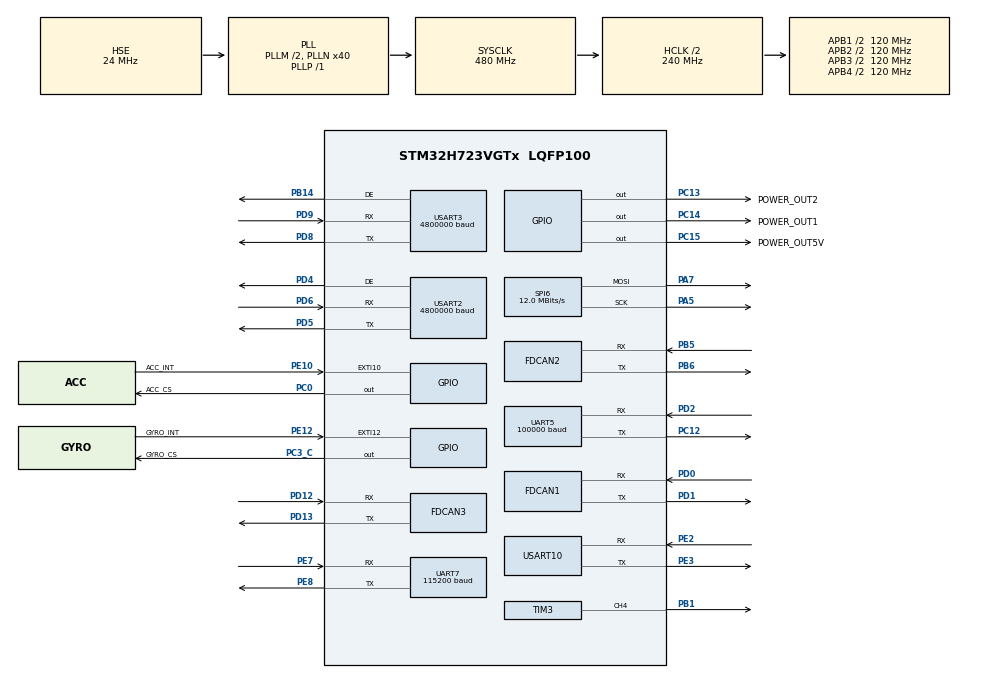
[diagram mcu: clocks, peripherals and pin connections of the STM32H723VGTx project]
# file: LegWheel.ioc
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CRC.DefaultPolynomialUse=DEFAULT_POLYNOMIAL_DISABLE
Dma.Request0=USART2_RX
Dma.Request1=USART2_TX
Dma.Request2=USART3_RX
Dma.Request3=USART3_TX
Dma.Request4=UART7_RX
Dma.Request5=UART7_TX
Dma.Request6=USART10_RX
Dma.Request7=USART10_TX
Dma.Request8=UART5_RX
Dma.UART5_RX.8.Direction=DMA_PERIPH_TO_MEMORY
Dma.UART5_RX.8.EventEnable=DISABLE
Dma.UART5_RX.8.FIFOMode=DMA_FIFOMODE_DISABLE
Dma.UART5_RX.8.Instance=DMA1_Stream0
Dma.UART5_RX.8.MemDataAlignment=DMA_MDATAALIGN_BYTE
Dma.UART5_RX.8.MemInc=DMA_MINC_ENABLE
Dma.UART5_RX.8.Mode=DMA_CIRCULAR
Dma.UART5_RX.8.PeriphDataAlignment=DMA_PDATAALIGN_BYTE
Dma.UART5_RX.8.PeriphInc=DMA_PINC_DISABLE
Dma.UART5_RX.8.Polarity=HAL_DMAMUX_REQ_GEN_RISING
Dma.UART5_RX.8.Priority=DMA_PRIORITY_VERY_HIGH
Dma.UART5_RX.8.RequestNumber=1
Dma.UART5_RX.8.SignalID=NONE
Dma.UART5_RX.8.SyncEnable=DISABLE
Dma.UART5_RX.8.SyncPolarity=HAL_DMAMUX_SYNC_NO_EVENT
Dma.UART5_RX.8.SyncRequestNumber=1
Dma.UART5_RX.8.SyncSignalID=NONE
Dma.UART7_RX.4.Direction=DMA_PERIPH_TO_MEMORY
Dma.UART7_RX.4.EventEnable=DISABLE
Dma.UART7_RX.4.FIFOMode=DMA_FIFOMODE_DISABLE
Dma.UART7_RX.4.Instance=DMA2_Stream2
Dma.UART7_RX.4.MemDataAlignment=DMA_MDATAALIGN_BYTE
Dma.UART7_RX.4.MemInc=DMA_MINC_ENABLE
Dma.UART7_RX.4.Mode=DMA_CIRCULAR
Dma.UART7_RX.4.PeriphDataAlignment=DMA_PDATAALIGN_BYTE
Dma.UART7_RX.4.PeriphInc=DMA_PINC_DISABLE
Dma.UART7_RX.4.Polarity=HAL_DMAMUX_REQ_GEN_RISING
Dma.UART7_RX.4.Priority=DMA_PRIORITY_VERY_HIGH
Dma.UART7_RX.4.RequestNumber=1
Dma.UART7_RX.4.SignalID=NONE
Dma.UART7_RX.4.SyncEnable=DISABLE
Dma.UART7_RX.4.SyncPolarity=HAL_DMAMUX_SYNC_NO_EVENT
Dma.UART7_RX.4.SyncRequestNumber=1
Dma.UART7_RX.4.SyncSignalID=NONE
Dma.UART7_TX.5.Direction=DMA_MEMORY_TO_PERIPH
Dma.UART7_TX.5.EventEnable=DISABLE
Dma.UART7_TX.5.FIFOMode=DMA_FIFOMODE_DISABLE
Dma.UART7_TX.5.Instance=DMA2_Stream1
Dma.UART7_TX.5.MemDataAlignment=DMA_MDATAALIGN_BYTE
Dma.UART7_TX.5.MemInc=DMA_MINC_ENABLE
Dma.UART7_TX.5.Mode=DMA_CIRCULAR
Dma.UART7_TX.5.PeriphDataAlignment=DMA_PDATAALIGN_BYTE
Dma.UART7_TX.5.PeriphInc=DMA_PINC_DISABLE
Dma.UART7_TX.5.Polarity=HAL_DMAMUX_REQ_GEN_RISING
Dma.UART7_TX.5.Priority=DMA_PRIORITY_VERY_HIGH
Dma.UART7_TX.5.RequestNumber=1
Dma.UART7_TX.5.SignalID=NONE
Dma.UART7_TX.5.SyncEnable=DISABLE
Dma.UART7_TX.5.SyncPolarity=HAL_DMAMUX_SYNC_NO_EVENT
Dma.UART7_TX.5.SyncRequestNumber=1
Dma.UART7_TX.5.SyncSignalID=NONE
Dma.USART10_RX.6.Direction=DMA_PERIPH_TO_MEMORY
Dma.USART10_RX.6.EventEnable=DISABLE
Dma.USART10_RX.6.FIFOMode=DMA_FIFOMODE_DISABLE
Dma.USART10_RX.6.Instance=DMA2_Stream3
Dma.USART10_RX.6.MemDataAlignment=DMA_MDATAALIGN_BYTE
Dma.USART10_RX.6.MemInc=DMA_MINC_ENABLE
Dma.USART10_RX.6.Mode=DMA_NORMAL
Dma.USART10_RX.6.PeriphDataAlignment=DMA_PDATAALIGN_BYTE
Dma.USART10_RX.6.PeriphInc=DMA_PINC_DISABLE
Dma.USART10_RX.6.Polarity=HAL_DMAMUX_REQ_GEN_RISING
Dma.USART10_RX.6.Priority=DMA_PRIORITY_VERY_HIGH
Dma.USART10_RX.6.RequestNumber=1
Dma.USART10_RX.6.SignalID=NONE
Dma.USART10_RX.6.SyncEnable=DISABLE
Dma.USART10_RX.6.SyncPolarity=HAL_DMAMUX_SYNC_NO_EVENT
Dma.USART10_RX.6.SyncRequestNumber=1
Dma.USART10_RX.6.SyncSignalID=NONE
Dma.USART10_TX.7.Direction=DMA_MEMORY_TO_PERIPH
Dma.USART10_TX.7.EventEnable=DISABLE
Dma.USART10_TX.7.FIFOMode=DMA_FIFOMODE_DISABLE
Dma.USART10_TX.7.Instance=DMA2_Stream4
Dma.USART10_TX.7.MemDataAlignment=DMA_MDATAALIGN_BYTE
Dma.USART10_TX.7.MemInc=DMA_MINC_ENABLE
Dma.USART10_TX.7.Mode=DMA_NORMAL
Dma.USART10_TX.7.PeriphDataAlignment=DMA_PDATAALIGN_BYTE
Dma.USART10_TX.7.PeriphInc=DMA_PINC_DISABLE
Dma.USART10_TX.7.Polarity=HAL_DMAMUX_REQ_GEN_RISING
Dma.USART10_TX.7.Priority=DMA_PRIORITY_VERY_HIGH
Dma.USART10_TX.7.RequestNumber=1
Dma.USART10_TX.7.SignalID=NONE
Dma.USART10_TX.7.SyncEnable=DISABLE
Dma.USART10_TX.7.SyncPolarity=HAL_DMAMUX_SYNC_NO_EVENT
Dma.USART10_TX.7.SyncRequestNumber=1
Dma.USART10_TX.7.SyncSignalID=NONE
Dma.USART2_RX.0.Direction=DMA_PERIPH_TO_MEMORY
Dma.USART2_RX.0.EventEnable=DISABLE
Dma.USART2_RX.0.FIFOMode=DMA_FIFOMODE_DISABLE
Dma.USART2_RX.0.Instance=DMA1_Stream1
Dma.USART2_RX.0.MemDataAlignment=DMA_MDATAALIGN_BYTE
Dma.USART2_RX.0.MemInc=DMA_MINC_ENABLE
Dma.USART2_RX.0.Mode=DMA_NORMAL
Dma.USART2_RX.0.PeriphDataAlignment=DMA_PDATAALIGN_BYTE
Dma.USART2_RX.0.PeriphInc=DMA_PINC_DISABLE
Dma.USART2_RX.0.Polarity=HAL_DMAMUX_REQ_GEN_RISING
Dma.USART2_RX.0.Priority=DMA_PRIORITY_HIGH
Dma.USART2_RX.0.RequestNumber=1
Dma.USART2_RX.0.SignalID=NONE
Dma.USART2_RX.0.SyncEnable=DISABLE
Dma.USART2_RX.0.SyncPolarity=HAL_DMAMUX_SYNC_NO_EVENT
Dma.USART2_RX.0.SyncRequestNumber=1
Dma.USART2_RX.0.SyncSignalID=NONE
Dma.USART2_TX.1.Direction=DMA_MEMORY_TO_PERIPH
Dma.USART2_TX.1.EventEnable=DISABLE
Dma.USART2_TX.1.FIFOMode=DMA_FIFOMODE_DISABLE
Dma.USART2_TX.1.Instance=DMA1_Stream2
Dma.USART2_TX.1.MemDataAlignment=DMA_MDATAALIGN_BYTE
Dma.USART2_TX.1.MemInc=DMA_MINC_ENABLE
Dma.USART2_TX.1.Mode=DMA_NORMAL
Dma.USART2_TX.1.PeriphDataAlignment=DMA_PDATAALIGN_BYTE
Dma.USART2_TX.1.PeriphInc=DMA_PINC_DISABLE
Dma.USART2_TX.1.Polarity=HAL_DMAMUX_REQ_GEN_RISING
Dma.USART2_TX.1.Priority=DMA_PRIORITY_HIGH
Dma.USART2_TX.1.RequestNumber=1
Dma.USART2_TX.1.SignalID=NONE
Dma.USART2_TX.1.SyncEnable=DISABLE
Dma.USART2_TX.1.SyncPolarity=HAL_DMAMUX_SYNC_NO_EVENT
Dma.USART2_TX.1.SyncRequestNumber=1
Dma.USART2_TX.1.SyncSignalID=NONE
Dma.USART3_RX.2.Direction=DMA_PERIPH_TO_MEMORY
Dma.USART3_RX.2.EventEnable=DISABLE
Dma.USART3_RX.2.FIFOMode=DMA_FIFOMODE_DISABLE
Dma.USART3_RX.2.Instance=DMA1_Stream3
Dma.USART3_RX.2.MemDataAlignment=DMA_MDATAALIGN_BYTE
Dma.USART3_RX.2.MemInc=DMA_MINC_ENABLE
Dma.USART3_RX.2.Mode=DMA_NORMAL
Dma.USART3_RX.2.PeriphDataAlignment=DMA_PDATAALIGN_BYTE
Dma.USART3_RX.2.PeriphInc=DMA_PINC_DISABLE
Dma.USART3_RX.2.Polarity=HAL_DMAMUX_REQ_GEN_RISING
Dma.USART3_RX.2.Priority=DMA_PRIORITY_HIGH
Dma.USART3_RX.2.RequestNumber=1
Dma.USART3_RX.2.SignalID=NONE
Dma.USART3_RX.2.SyncEnable=DISABLE
Dma.USART3_RX.2.SyncPolarity=HAL_DMAMUX_SYNC_NO_EVENT
Dma.USART3_RX.2.SyncRequestNumber=1
Dma.USART3_RX.2.SyncSignalID=NONE
Dma.USART3_TX.3.Direction=DMA_MEMORY_TO_PERIPH
Dma.USART3_TX.3.EventEnable=DISABLE
Dma.USART3_TX.3.FIFOMode=DMA_FIFOMODE_DISABLE
Dma.USART3_TX.3.Instance=DMA1_Stream4
Dma.USART3_TX.3.MemDataAlignment=DMA_MDATAALIGN_BYTE
Dma.USART3_TX.3.MemInc=DMA_MINC_ENABLE
Dma.USART3_TX.3.Mode=DMA_NORMAL
Dma.USART3_TX.3.PeriphDataAlignment=DMA_PDATAALIGN_BYTE
Dma.USART3_TX.3.PeriphInc=DMA_PINC_DISABLE
Dma.USART3_TX.3.Polarity=HAL_DMAMUX_REQ_GEN_RISING
Dma.USART3_TX.3.Priority=DMA_PRIORITY_HIGH
Dma.USART3_TX.3.RequestNumber=1
Dma.USART3_TX.3.SignalID=NONE
Dma.USART3_TX.3.SyncEnable=DISABLE
Dma.USART3_TX.3.SyncPolarity=HAL_DMAMUX_SYNC_NO_EVENT
Dma.USART3_TX.3.SyncRequestNumber=1
Dma.USART3_TX.3.SyncSignalID=NONE
FDCAN1.AutoRetransmission=ENABLE
FDCAN1.CalculateBaudRateNominal=1000000
FDCAN1.CalculateTimeBitNominal=1000
FDCAN1.CalculateTimeQuantumNominal=25.0
FDCAN1.DataPrescaler=3
FDCAN1.DataSyncJumpWidth=10
FDCAN1.DataTimeSeg1=29
FDCAN1.DataTimeSeg2=10
FDCAN1.NominalPrescaler=3
FDCAN1.NominalSyncJumpWidth=10
FDCAN1.NominalTimeSeg1=29
FDCAN1.NominalTimeSeg2=10
FDCAN1.ProtocolException=ENABLE
FDCAN1.RxFifo0ElmtsNbr=4
FDCAN1.StdFiltersNbr=1
FDCAN1.TxFifoQueueElmtsNbr=4
FDCAN2.AutoRetransmission=ENABLE
FDCAN2.CalculateBaudRateNominal=1000000
FDCAN2.CalculateTimeBitNominal=1000
FDCAN2.CalculateTimeQuantumNominal=25.0
FDCAN2.DataPrescaler=3
FDCAN2.DataSyncJumpWidth=10
FDCAN2.DataTimeSeg1=29
FDCAN2.DataTimeSeg2=10
FDCAN2.MessageRAMOffset=854
FDCAN2.NominalPrescaler=3
FDCAN2.NominalSyncJumpWidth=10
FDCAN2.NominalTimeSeg1=29
FDCAN2.NominalTimeSeg2=10
FDCAN2.ProtocolException=ENABLE
FDCAN2.RxFifo0ElmtsNbr=4
FDCAN2.StdFiltersNbr=1
FDCAN2.TxFifoQueueElmtsNbr=4
FDCAN3.AutoRetransmission=ENABLE
FDCAN3.CalculateBaudRateNominal=1000000
FDCAN3.CalculateTimeBitNominal=1000
FDCAN3.CalculateTimeQuantumNominal=25.0
FDCAN3.DataPrescaler=3
FDCAN3.DataSyncJumpWidth=10
FDCAN3.DataTimeSeg1=29
FDCAN3.DataTimeSeg2=10
FDCAN3.MessageRAMOffset=1708
FDCAN3.NominalPrescaler=3
FDCAN3.NominalSyncJumpWidth=10
FDCAN3.NominalTimeSeg1=29
FDCAN3.NominalTimeSeg2=10
FDCAN3.ProtocolException=ENABLE
FDCAN3.RxFifo0ElmtsNbr=4
FDCAN3.StdFiltersNbr=1
FDCAN3.TxFifoQueueElmtsNbr=4
FREERTOS.Tasks01=defaultTask,8,256,StartDefaultTask,Default,NULL,Dynamic,NULL,NULL;ChassisTask,24,256,StartChassisTask,Default,NULL,Dynamic,NULL,NULL;LegMotorTask,48,128,StartLegMotorTask,Default,NULL,Dynamic,NULL,NULL;IMUTask,48,128,StartIMUTask,Default,NULL,Dynamic,NULL,NULL;BoardcommTask,48,512,StartBoardcommTask,Default,NULL,Dynamic,NULL,NULL;VofaTask,8,128,StartVofaTask,Default,NULL,Dynamic,NULL,NULL;ET16STask,48,128,StartET16STask,Default,NULL,Dynamic,NULL,NULL;CloudTask,24,256,StartCloudTask,Default,NULL,Dynamic,NULL,NULL
FREERTOS.configTOTAL_HEAP_SIZE=16384
Mcu.Family=STM32H7
Mcu.Name=STM32H723VGTx
Mcu.Package=LQFP100
NVIC.DMA1_Stream0_IRQn=true\:5\:0\:false\:false\:true\:true\:false\:true\:true
NVIC.DMA1_Stream1_IRQn=true\:5\:0\:true\:false\:true\:false\:false\:true\:true
NVIC.DMA1_Stream2_IRQn=true\:5\:0\:false\:false\:true\:true\:false\:true\:true
NVIC.DMA1_Stream3_IRQn=true\:5\:0\:false\:false\:true\:true\:false\:true\:true
NVIC.DMA1_Stream4_IRQn=true\:5\:0\:false\:false\:true\:true\:false\:true\:true
NVIC.DMA2_Stream1_IRQn=true\:5\:0\:false\:false\:true\:true\:false\:true\:true
NVIC.DMA2_Stream2_IRQn=true\:5\:0\:false\:false\:true\:false\:false\:true\:true
NVIC.DMA2_Stream3_IRQn=true\:5\:0\:false\:false\:true\:true\:false\:true\:true
NVIC.DMA2_Stream4_IRQn=true\:5\:0\:false\:false\:true\:false\:false\:true\:true
NVIC.FDCAN1_IT0_IRQn=true\:5\:0\:false\:false\:true\:true\:true\:true\:true
NVIC.FDCAN2_IT0_IRQn=true\:5\:0\:false\:false\:true\:true\:true\:true\:true
NVIC.FDCAN3_IT0_IRQn=true\:5\:0\:false\:false\:true\:true\:true\:true\:true
NVIC.PriorityGroup=NVIC_PRIORITYGROUP_4
NVIC.TIM2_IRQn=true\:15\:0\:false\:false\:true\:false\:false\:true\:true
NVIC.TimeBase=TIM2_IRQn
NVIC.TimeBaseIP=TIM2
NVIC.UART5_IRQn=true\:5\:0\:false\:false\:true\:true\:true\:true\:true
NVIC.UART7_IRQn=true\:5\:0\:false\:false\:true\:true\:true\:true\:true
NVIC.USART10_IRQn=true\:5\:0\:false\:false\:true\:true\:true\:true\:true
NVIC.USART2_IRQn=true\:5\:0\:false\:false\:true\:true\:true\:true\:true
NVIC.USART3_IRQn=true\:5\:0\:false\:false\:true\:true\:true\:true\:true
PA13(JTMS/SWDIO).Mode=Serial_Wire
PA13(JTMS/SWDIO).Signal=DEBUG_JTMS-SWDIO
PA14(JTCK/SWCLK).Mode=Serial_Wire
PA14(JTCK/SWCLK).Signal=DEBUG_JTCK-SWCLK
PA5.GPIO_Speed=GPIO_SPEED_FREQ_VERY_HIGH
PA5.Mode=TX_Only_Simplex_Unidirect_Master
PA5.Signal=SPI6_SCK
PA7.GPIO_Speed=GPIO_SPEED_FREQ_VERY_HIGH
PA7.Mode=TX_Only_Simplex_Unidirect_Master
PA7.Signal=SPI6_MOSI
PB1.Signal=S_TIM3_CH4
PB13.Signal=SPI2_SCK
PB14.GPIO_PuPd=GPIO_PULLDOWN
PB14.GPIO_Speed=GPIO_SPEED_FREQ_VERY_HIGH
PB14.Mode=Hardware Flow Control (RS485)
PB14.Signal=USART3_DE
PB5.GPIO_Speed=GPIO_SPEED_FREQ_LOW
PB5.Mode=FDCAN_Activate
PB5.Signal=FDCAN2_RX
PB6.GPIO_FM6=SYSCFG_PMCR_I2C_PB6_FMP
PB6.GPIO_Speed=GPIO_SPEED_FREQ_LOW
PB6.Mode=FDCAN_Activate
PB6.Signal=FDCAN2_TX
PC0.GPIO_Label=ACC_CS
PC0.GPIO_PuPd=GPIO_NOPULL
PC0.GPIO_Speed=GPIO_SPEED_FREQ_VERY_HIGH
PC0.PinState=GPIO_PIN_SET
PC0.Signal=GPIO_Output
PC12.Mode=Asynchronous
PC12.Signal=UART5_TX
PC13.GPIO_Label=POWER_OUT2
PC13.PinState=GPIO_PIN_SET
PC13.Signal=GPIO_Output
PC14-OSC32_IN.GPIO_Label=POWER_OUT1
PC14-OSC32_IN.PinState=GPIO_PIN_SET
PC14-OSC32_IN.Signal=GPIO_Output
PC15-OSC32_OUT.GPIO_Label=POWER_OUT5V
PC15-OSC32_OUT.PinState=GPIO_PIN_SET
PC15-OSC32_OUT.Signal=GPIO_Output
PC3_C.GPIO_Label=GYRO_CS
PC3_C.GPIO_PuPd=GPIO_NOPULL
PC3_C.GPIO_Speed=GPIO_SPEED_FREQ_VERY_HIGH
PC3_C.PinState=GPIO_PIN_SET
PC3_C.Signal=GPIO_Output
PD0.GPIO_Speed=GPIO_SPEED_FREQ_LOW
PD0.Mode=FDCAN_Activate
PD0.Signal=FDCAN1_RX
PD1.GPIO_Speed=GPIO_SPEED_FREQ_LOW
PD1.Mode=FDCAN_Activate
PD1.Signal=FDCAN1_TX
PD12.Mode=FDCAN_Activate
PD12.Signal=FDCAN3_RX
PD13.Mode=FDCAN_Activate
PD13.Signal=FDCAN3_TX
PD2.Mode=Asynchronous
PD2.Signal=UART5_RX
PD4.GPIO_PuPd=GPIO_PULLDOWN
PD4.GPIO_Speed=GPIO_SPEED_FREQ_VERY_HIGH
PD4.Mode=Hardware Flow Control (RS485)
PD4.Signal=USART2_DE
PD5.GPIO_Speed=GPIO_SPEED_FREQ_VERY_HIGH
PD5.Mode=Asynchronous
PD5.Signal=USART2_TX
PD6.GPIO_Speed=GPIO_SPEED_FREQ_VERY_HIGH
PD6.Mode=Asynchronous
PD6.Signal=USART2_RX
PD8.GPIO_Speed=GPIO_SPEED_FREQ_VERY_HIGH
PD8.Mode=Asynchronous
PD8.Signal=USART3_TX
PD9.GPIO_Speed=GPIO_SPEED_FREQ_VERY_HIGH
PD9.Mode=Asynchronous
PD9.Signal=USART3_RX
PE10.GPIO_Label=ACC_INT
PE10.Signal=GPXTI10
PE12.GPIO_Label=GYRO_INT
PE12.Signal=GPXTI12
PE2.Mode=Asynchronous
PE2.Signal=USART10_RX
PE3.Mode=Asynchronous
PE3.Signal=USART10_TX
PE7.GPIO_Speed=GPIO_SPEED_FREQ_VERY_HIGH
PE7.Mode=Asynchronous
PE7.Signal=UART7_RX
PE8.GPIO_Speed=GPIO_SPEED_FREQ_VERY_HIGH
PE8.Mode=Asynchronous
PE8.Signal=UART7_TX
PH0-OSC_IN.Mode=HSE-External-Oscillator
PH0-OSC_IN.Signal=RCC_OSC_IN
PH1-OSC_OUT.Mode=HSE-External-Oscillator
PH1-OSC_OUT.Signal=RCC_OSC_OUT
ProjectManager.HeapSize=0x20000
ProjectManager.StackSize=0x800
ProjectManager.TargetToolchain=MDK-ARM V5.27
RCC.ADCFreq_Value=48375000
RCC.APB1Freq_Value=120000000
RCC.APB2Freq_Value=120000000
RCC.APB3Freq_Value=120000000
RCC.APB4Freq_Value=120000000
RCC.CortexFreq_Value=480000000
RCC.D1PPRE=RCC_APB3_DIV2
RCC.D2PPRE1=RCC_APB1_DIV2
RCC.D2PPRE2=RCC_APB2_DIV2
RCC.D3PPRE=RCC_APB4_DIV2
RCC.DIVM1=2
RCC.DIVN1=40
RCC.DIVP1=1
RCC.DIVQ1=4
RCC.HCLKFreq_Value=240000000
RCC.HPRE=RCC_HCLK_DIV2
RCC.HSE_VALUE=24000000
RCC.PLL2FRACN=0
RCC.PLL3FRACN=0
RCC.PLLFRACN=0
RCC.PLLSourceVirtual=RCC_PLLSOURCE_HSE
RCC.SPI6CLockSelection=RCC_SPI6CLKSOURCE_HSE
RCC.SYSCLKFreq_VALUE=480000000
RCC.SYSCLKSource=RCC_SYSCLKSOURCE_PLLCLK
RCC.USBFreq_Value=120000000
SH.S_TIM3_CH4.0=TIM3_CH4,PWM Generation4 CH4
SPI6.CalculateBaudRate=12.0 MBits/s
SPI6.Direction=SPI_DIRECTION_2LINES_TXONLY
SPI6.Mode=SPI_MODE_MASTER
SPI6.VirtualType=VM_MASTER
TIM3.Channel-PWM\ Generation4\ CH4=TIM_CHANNEL_4
TIM3.Period=2000-1
TIM3.Prescaler=84-1
UART5.BaudRate=100000
UART5.Parity=PARITY_EVEN
UART5.StopBits=UART_STOPBITS_2
UART5.WordLength=WORDLENGTH_9B
UART7.BaudRate=115200
USART10.VirtualMode=VM_ASYNC
USART2.BaudRate=4800000
USART2.DMADisableonRxErrorParam=ADVFEATURE_DMA_ENABLEONRXERROR
USART2.OverrunDisableParam=ADVFEATURE_OVERRUN_ENABLE
USART2.RXFIFOThreshold=RXFIFO_THRESHOLD_1EIGHTHFULL
USART2.TXFIFOThreshold=TXFIFO_THRESHOLD_1EIGHTHFULL
USART2.VirtualMode-Asynchronous=VM_ASYNC
USART2.VirtualMode-Hardware\ Flow\ Control\ (RS485)=VM_ASYNC
USART3.BaudRate=4800000
USART3.VirtualMode-Asynchronous=VM_ASYNC
USART3.VirtualMode-Hardware\ Flow\ Control\ (RS485)=VM_ASYNC
VP_CRC_VS_CRC.Mode=CRC_Activate
VP_FREERTOS_VS_CMSIS_V2.Mode=CMSIS_V2
VP_MEMORYMAP_VS_MEMORYMAP.Mode=CurAppReg
VP_SYS_VS_tim2.Mode=TIM2
board=custom

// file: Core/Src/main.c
/* USER CODE BEGIN Header */
/**
  ******************************************************************************
  * @file           : main.c
  * @brief          : Main program body
  ******************************************************************************
  * @attention
  *
  * Copyright (c) 2024 STMicroelectronics.
  * All rights reserved.
  *
  * This software is licensed under terms that can be found in the LICENSE file
  * in the root directory of this software component.
  * If no LICENSE file comes with this software, it is provided AS-IS.
  *
  ******************************************************************************
  */
/* USER CODE END Header */
#include "main.h"
#include "cmsis_os.h"
#include "crc.h"
#include "dma.h"
#include "fdcan.h"
#include "memorymap.h"
#include "spi.h"
#include "tim.h"
#include "usart.h"
#include "gpio.h"

/* USER CODE BEGIN Includes */
#include "Task_manager.h"
#include "bsp_dwt.h"
#include "stdint.h"
#include "stdlib.h"
#include "math.h"
#include "arm_math.h"
#include "BSP_fdcan.h"
#include "N100.h"

/* USER CODE END Includes */

void SystemClock_Config(void);
void MX_FREERTOS_Init(void);

int main(void)
{

  /* MCU Configuration--------------------------------------------------------*/

  /* Reset of all peripherals, Initializes the Flash interface and the Systick. */
  HAL_Init();
  HAL_Delay(100);

  /* Configure the system clock */
  SystemClock_Config();

  /* USER CODE BEGIN SysInit */
	HAL_NVIC_SetPriority(SysTick_IRQn,0,0);
  /* USER CODE END SysInit */

  /* Initialize all configured peripherals */
  MX_GPIO_Init();
  MX_DMA_Init();
  MX_SPI6_Init();
  MX_FDCAN1_Init();
  MX_FDCAN2_Init();
  MX_USART2_UART_Init();
  MX_USART3_UART_Init();
  MX_CRC_Init();
  MX_UART7_Init();
  MX_TIM3_Init();
  MX_FDCAN3_Init();
  MX_USART10_UART_Init();
  MX_UART5_Init();
  /* USER CODE BEGIN 2 */
	DWT_Init(180);

	Can_Fun.can_bsp_init();
	motor_init();
  /* USER CODE END 2 */

  /* Init scheduler */
  osKernelInitialize();

  /* Call init function for freertos objects (in cmsis_os2.c) */
  MX_FREERTOS_Init();

  /* Start scheduler */
  osKernelStart();

  /* We should never get here as control is now taken by the scheduler */

  /* Infinite loop */
  while (1)
  {

  }
}

void SystemClock_Config(void)
{
  RCC_OscInitTypeDef RCC_OscInitStruct = {0};
  RCC_ClkInitTypeDef RCC_ClkInitStruct = {0};

  /** Supply configuration update enable
  */
  HAL_PWREx_ConfigSupply(PWR_LDO_SUPPLY);

  /** Configure the main internal regulator output voltage
  */
  __HAL_PWR_VOLTAGESCALING_CONFIG(PWR_REGULATOR_VOLTAGE_SCALE0);

  while(!__HAL_PWR_GET_FLAG(PWR_FLAG_VOSRDY)) {}

  /** Initializes the RCC Oscillators according to the specified parameters
  * in the RCC_OscInitTypeDef structure.
  */
  RCC_OscInitStruct.OscillatorType = RCC_OSCILLATORTYPE_HSE;
  RCC_OscInitStruct.HSEState = RCC_HSE_ON;
  RCC_OscInitStruct.PLL.PLLState = RCC_PLL_ON;
  RCC_OscInitStruct.PLL.PLLSource = RCC_PLLSOURCE_HSE;
  RCC_OscInitStruct.PLL.PLLM = 2;
  RCC_OscInitStruct.PLL.PLLN = 40;
  RCC_OscInitStruct.PLL.PLLP = 1;
  RCC_OscInitStruct.PLL.PLLQ = 4;
  RCC_OscInitStruct.PLL.PLLR = 2;
  RCC_OscInitStruct.PLL.PLLRGE = RCC_PLL1VCIRANGE_3;
  RCC_OscInitStruct.PLL.PLLVCOSEL = RCC_PLL1VCOWIDE;
  RCC_OscInitStruct.PLL.PLLFRACN = 0;
  if (HAL_RCC_OscConfig(&RCC_OscInitStruct) != HAL_OK)
  {
    Error_Handler();
  }

  /** Initializes the CPU, AHB and APB buses clocks
  */
  RCC_ClkInitStruct.ClockType = RCC_CLOCKTYPE_HCLK|RCC_CLOCKTYPE_SYSCLK
                              |RCC_CLOCKTYPE_PCLK1|RCC_CLOCKTYPE_PCLK2
                              |RCC_CLOCKTYPE_D3PCLK1|RCC_CLOCKTYPE_D1PCLK1;
  RCC_ClkInitStruct.SYSCLKSource = RCC_SYSCLKSOURCE_PLLCLK;
  RCC_ClkInitStruct.SYSCLKDivider = RCC_SYSCLK_DIV1;
  RCC_ClkInitStruct.AHBCLKDivider = RCC_HCLK_DIV2;
  RCC_ClkInitStruct.APB3CLKDivider = RCC_APB3_DIV2;
  RCC_ClkInitStruct.APB1CLKDivider = RCC_APB1_DIV2;
  RCC_ClkInitStruct.APB2CLKDivider = RCC_APB2_DIV2;
  RCC_ClkInitStruct.APB4CLKDivider = RCC_APB4_DIV2;

  if (HAL_RCC_ClockConfig(&RCC_ClkInitStruct, FLASH_LATENCY_3) != HAL_OK)
  {
    Error_Handler();
  }
}

/* USER CODE BEGIN 4 */
//void HAL_IncTick(void)
//{
//	if(uwTickFreq==0)
//	{
//		uwTickFreq = HAL_TICK_FREQ_DEFAULT;
//	}
//  uwTick += uwTickFreq;
//}

/* USER CODE END 4 */

void HAL_TIM_PeriodElapsedCallback(TIM_HandleTypeDef *htim)
{
  if (htim->Instance == TIM2)
  {
    HAL_IncTick();
  }
}

void Error_Handler(void)
{
  /* USER CODE BEGIN Error_Handler_Debug */
  /* User can add his own implementation to report the HAL error return state */
  __disable_irq();
  while (1)
  {
		//WS2812_Ctrl(0,200,0);
  }
  /* USER CODE END Error_Handler_Debug */
}

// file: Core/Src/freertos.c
/* USER CODE BEGIN Header */
/**
  ******************************************************************************
  * File Name          : freertos.c
  * Description        : Code for freertos applications
  ******************************************************************************
  * @attention
  *
  * Copyright (c) 2024 STMicroelectronics.
  * All rights reserved.
  *
  * This software is licensed under terms that can be found in the LICENSE file
  * in the root directory of this software component.
  * If no LICENSE file comes with this software, it is provided AS-IS.
  *
  ******************************************************************************
  */
/* USER CODE END Header */

#include "FreeRTOS.h"
#include "task.h"
#include "main.h"
#include "cmsis_os.h"

/* USER CODE BEGIN Includes */
#include "ws2812.h"
#include "ins.h"
#include "Task_manager.h"
#include "bsp_dwt.h"
#include "Saber_C3.h"
#include "board_comm.h"
#include "vofa.h"
#include "N100.h"
#include "SBUS.h"
//#include "BMI088driver.h"
/* USER CODE END Includes */

/* Definitions for defaultTask */
osThreadId_t defaultTaskHandle;
const osThreadAttr_t defaultTask_attributes = {
  .name = "defaultTask",
  .stack_size = 256 * 4,
  .priority = (osPriority_t) osPriorityLow,
};
/* Definitions for ChassisTask */
osThreadId_t ChassisTaskHandle;
const osThreadAttr_t ChassisTask_attributes = {
  .name = "ChassisTask",
  .stack_size = 256 * 4,
  .priority = (osPriority_t) osPriorityNormal,
};
/* Definitions for LegMotorTask */
osThreadId_t LegMotorTaskHandle;
const osThreadAttr_t LegMotorTask_attributes = {
  .name = "LegMotorTask",
  .stack_size = 128 * 4,
  .priority = (osPriority_t) osPriorityRealtime,
};
/* Definitions for IMUTask */
osThreadId_t IMUTaskHandle;
const osThreadAttr_t IMUTask_attributes = {
  .name = "IMUTask",
  .stack_size = 128 * 4,
  .priority = (osPriority_t) osPriorityRealtime,
};
/* Definitions for BoardcommTask */
osThreadId_t BoardcommTaskHandle;
const osThreadAttr_t BoardcommTask_attributes = {
  .name = "BoardcommTask",
  .stack_size = 512 * 4,
  .priority = (osPriority_t) osPriorityRealtime,
};
/* Definitions for VofaTask */
osThreadId_t VofaTaskHandle;
const osThreadAttr_t VofaTask_attributes = {
  .name = "VofaTask",
  .stack_size = 128 * 4,
  .priority = (osPriority_t) osPriorityLow,
};
/* Definitions for ET16STask */
osThreadId_t ET16STaskHandle;
const osThreadAttr_t ET16STask_attributes = {
  .name = "ET16STask",
  .stack_size = 128 * 4,
  .priority = (osPriority_t) osPriorityRealtime,
};
/* Definitions for CloudTask */
osThreadId_t CloudTaskHandle;
const osThreadAttr_t CloudTask_attributes = {
  .name = "CloudTask",
  .stack_size = 256 * 4,
  .priority = (osPriority_t) osPriorityNormal,
};

void StartDefaultTask(void *argument);
void StartChassisTask(void *argument);
void StartLegMotorTask(void *argument);
void StartIMUTask(void *argument);
void StartBoardcommTask(void *argument);
void StartVofaTask(void *argument);
void StartET16STask(void *argument);
void StartCloudTask(void *argument);

void MX_FREERTOS_Init(void); /* (MISRA C 2004 rule 8.1) */

void MX_FREERTOS_Init(void) {

  /* Create the thread(s) */
  /* creation of defaultTask */
  defaultTaskHandle = osThreadNew(StartDefaultTask, NULL, &defaultTask_attributes);

  /* creation of ChassisTask */
  ChassisTaskHandle = osThreadNew(StartChassisTask, NULL, &ChassisTask_attributes);

  /* creation of LegMotorTask */
  LegMotorTaskHandle = osThreadNew(StartLegMotorTask, NULL, &LegMotorTask_attributes);

  /* creation of IMUTask */
  IMUTaskHandle = osThreadNew(StartIMUTask, NULL, &IMUTask_attributes);

  /* creation of BoardcommTask */
  BoardcommTaskHandle = osThreadNew(StartBoardcommTask, NULL, &BoardcommTask_attributes);

  /* creation of VofaTask */
  VofaTaskHandle = osThreadNew(StartVofaTask, NULL, &VofaTask_attributes);

  /* creation of ET16STask */
  ET16STaskHandle = osThreadNew(StartET16STask, NULL, &ET16STask_attributes);

  /* creation of CloudTask */
  CloudTaskHandle = osThreadNew(StartCloudTask, NULL, &CloudTask_attributes);

}

void StartDefaultTask(void *argument)
{
  /* USER CODE BEGIN StartDefaultTask */
  /* Infinite loop */
  for(;;)
  {
		WS2812_Ctrl(50, 0, 0);
		osDelay(500);
		WS2812_Ctrl(10, 10, 50);
		osDelay(500);

  }
  /* USER CODE END StartDefaultTask */
}

void StartChassisTask(void *argument)
{
  /* USER CODE BEGIN StartChassisTask */
  /* Infinite loop */
	static float chassis_start;
  static float chassis_dt;
	ChassisInit();
  for(;;)
  {
		chassis_start = DWT_GetTimeline_ms();
    ChassisCalcTask();
	  if(sbus_rx_data.reset_flag == 2)
		  HAL_NVIC_SystemReset();
    chassis_dt = DWT_GetTimeline_ms() - chassis_start;
    osDelay(1);
  }
  /* USER CODE END StartChassisTask */
}

void StartLegMotorTask(void *argument)
{
  /* USER CODE BEGIN StartLegMotorTask */
  /* Infinite loop */
	static float leg_start;
  static float leg_dt;
  for(;;)
  {
		leg_start = DWT_GetTimeline_ms();
				DM_MotorTask();
		leg_dt = DWT_GetTimeline_ms() - leg_start;
						WheelMotorTask();
		leg_dt = DWT_GetTimeline_ms() - leg_start;
    osDelay(1);
  }
  /* USER CODE END StartLegMotorTask */
}

void StartIMUTask(void *argument)
{
  /* USER CODE BEGIN StartIMUTask */
	static float ins_start;
  static float ins_dt;
			INS_Init();
  /* Infinite loop */
  for(;;)
  {
		ins_start = DWT_GetTimeline_ms();
		INS_Task();
		ins_dt = DWT_GetTimeline_ms() - ins_start;
    osDelay(1);
  }
  /* USER CODE END StartIMUTask */
}

void StartBoardcommTask(void *argument)
{
  /* USER CODE BEGIN StartBoardcommTask */
	static float board_start;
  static float board_dt;
//	 BoardCommInit(&board_comm,&hfdcan2, 0x11f);
	Board2_FUN.BoardCommInit(&hfdcan2);
  /* Infinite loop */
  for(;;)
  {
		board_start = DWT_GetTimeline_ms();
		boardCommunicateTask();
		board_dt = DWT_GetTimeline_ms() - board_start;
    osDelay(1);
  }
  /* USER CODE END StartBoardcommTask */
}

void StartVofaTask(void *argument)
{
  /* USER CODE BEGIN StartVofaTask */
  /* Infinite loop */
  for(;;)
  {
    vofaTask();
    Vofa_JustFloat(Vofa.data, 3);
	 osDelay(10);

  }
  /* USER CODE END StartVofaTask */
}

void StartET16STask(void *argument)
{
  /* USER CODE BEGIN StartET16STask */
  static float ET16S_start;
  static float ET16S_dt;
  SBUS_Init(&huart5);
  /* Infinite loop */
  for(;;)
  {
    ET16S_start = DWT_GetTimeline_ms();
    SBUS_Handle();
    ET16S_dt = DWT_GetTimeline_ms() - ET16S_start;
    osDelay(1);
  }
  /* USER CODE END StartET16STask */
}

void StartCloudTask(void *argument)
{
  /* USER CODE BEGIN StartCloudTask */
  static float cloud_start;
  static float cloud_dt;
  CloudInit();
  /* Infinite loop */
  for(;;)
  {
    cloud_start = DWT_GetTimeline_ms();
    Cloud_ControlTask();
    cloud_dt = DWT_GetTimeline_ms() - cloud_start;
    osDelay(1);
  }
  /* USER CODE END StartCloudTask */
}
